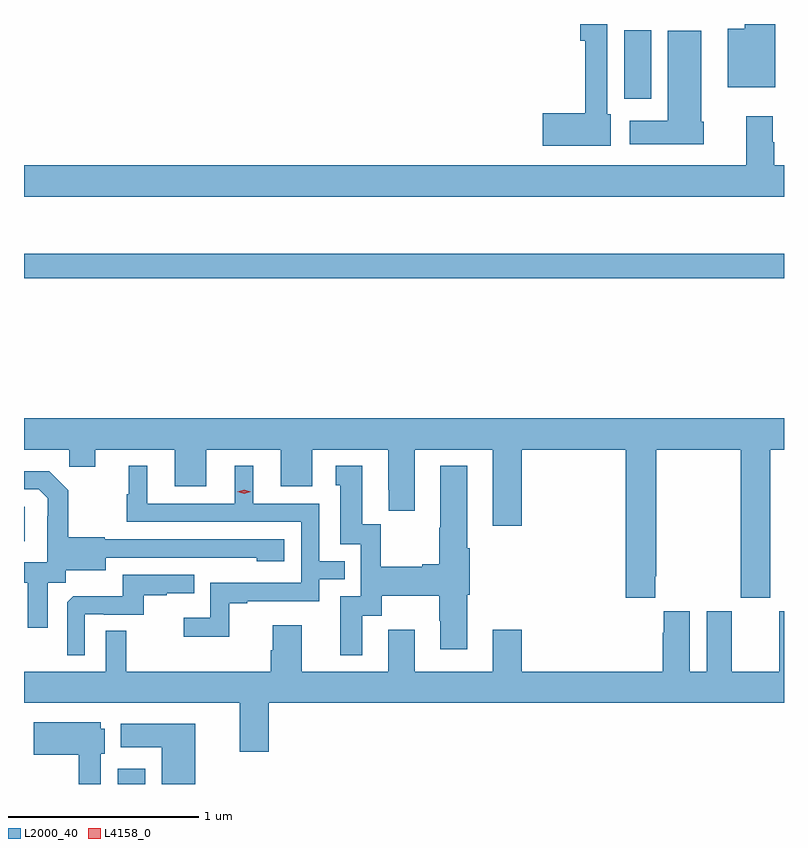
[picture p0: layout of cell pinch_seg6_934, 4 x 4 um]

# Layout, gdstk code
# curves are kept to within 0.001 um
import gdstk
lib = gdstk.Library(unit=1e-6, precision=1e-09)
def R(c, l, rs):  # rectangles x0, y0, x1, y1
    for r in rs: c.add(gdstk.rectangle(r[:2], r[2:], *l))
def P(c, l, *ps):  # polygons
    for p in ps: c.add(gdstk.Polygon(p, *l))
L2000_40 = (2000, 40)
L4158_0 = (4158, 0)

pinch_seg6_934 = lib.new_cell('pinch_seg6_934')
R(pinch_seg6_934, L2000_40, [(266.807,933.588,266.95,933.667), (266.313,934.866,266.317,935.046), (266.313,936.25,270.313,936.379), (269.471,937.194,269.614,937.556)])
P(pinch_seg6_934, L2000_40, [(270.268,937.588),(270.107,937.588),(270.107,937.564),(270.017,937.564),(270.017,937.256),(270.268,937.256)],
  [(269.401,937.113),(269.382,937.113),(269.382,937.588),(269.24,937.588),(269.24,937.499),(269.266,937.499),(269.266,937.118),(269.043,937.118),(269.043,936.947),(269.401,936.947)],
  [(269.89,937.074),(269.878,937.074),(269.878,937.552),(269.702,937.552),(269.702,937.078),(269.502,937.078),(269.502,936.956),(269.89,936.956)],
  [(270.313,936.844),(270.261,936.844),(270.261,936.965),(270.253,936.965),(270.253,937.102),(270.113,937.102),(270.113,936.844),(266.313,936.844),(266.313,936.68),(270.313,936.68)],
  [(269.635,934.681),(269.64,934.681),(269.64,935.348),(270.085,935.348),(270.085,934.569),(270.24,934.569),(270.24,935.348),(270.313,935.348),(270.313,935.512),(266.313,935.512),(266.313,935.348),(266.551,935.348),(266.551,935.258),(266.689,935.258),(266.689,935.348),(267.107,935.348),(267.107,935.154),(267.271,935.154),(267.271,935.348),(267.665,935.348),(267.665,935.154),(267.829,935.154),(267.829,935.348),(268.229,935.348),(268.229,935.137),(268.232,935.137),(268.232,935.025),(268.369,935.025),(268.369,935.348),(268.781,935.348),(268.781,934.947),(268.934,934.947),(268.934,935.348),(269.48,935.348),(269.48,934.569),(269.635,934.569)],
  [(267.393,934.539),(267.487,934.539),(267.487,934.551),(267.867,934.551),(267.867,934.665),(268.001,934.665),(268.001,934.761),(267.867,934.761),(267.867,935.064),(267.52,935.064),(267.52,935.263),(267.422,935.263),(267.422,935.064),(266.962,935.064),(266.962,935.263),(266.864,935.263),(266.864,935.112),(266.853,935.112),(266.853,934.968),(267.771,934.968),(267.771,934.647),(267.294,934.647),(267.294,934.462),(267.153,934.462),(267.153,934.364),(267.393,934.364)],
  [(268.093,934.474),(268.195,934.474),(268.195,934.58),(268.498,934.58),(268.498,934.446),(268.505,934.446),(268.505,934.296),(268.645,934.296),(268.645,934.584),(268.658,934.584),(268.658,934.828),(268.645,934.828),(268.645,935.263),(268.505,935.263),(268.505,934.937),(268.498,934.937),(268.498,934.745),(268.409,934.745),(268.409,934.732),(268.191,934.732),(268.191,934.955),(268.093,934.955),(268.093,935.263),(267.953,935.263),(267.953,935.16),(267.977,935.16),(267.977,934.851),(268.086,934.851),(268.086,934.575),(267.977,934.575),(267.977,934.266),(268.093,934.266)],
  [(266.437,934.648),(266.532,934.648),(266.532,934.712),(266.743,934.712),(266.743,934.779),(267.537,934.778),(267.537,934.76),(267.682,934.76),(267.682,934.875),(266.739,934.875),(266.739,934.888),(266.547,934.888),(266.547,935.133),(266.447,935.233),(266.313,935.233),(266.313,935.139),(266.391,935.139),(266.438,935.092),(266.438,934.997),(266.436,934.997),(266.436,934.756),(266.313,934.756),(266.313,934.646),(266.333,934.646),(266.333,934.41),(266.437,934.41)],
  [(266.634,934.482),(266.734,934.482),(266.734,934.479),(266.942,934.479),(266.942,934.581),(267.065,934.581),(267.065,934.592),(267.209,934.592),(267.209,934.689),(266.832,934.689),(266.832,934.577),(266.573,934.577),(266.541,934.545),(266.541,934.265),(266.634,934.265)],
  [(267.602,934.016),(270.313,934.016),(270.313,934.498),(270.287,934.498),(270.287,934.18),(270.037,934.18),(270.037,934.498),(269.906,934.498),(269.906,934.18),(269.818,934.18),(269.818,934.498),(269.681,934.498),(269.681,934.385),(269.675,934.385),(269.675,934.18),(268.934,934.18),(268.934,934.399),(268.781,934.399),(268.781,934.18),(268.369,934.18),(268.369,934.399),(268.229,934.399),(268.229,934.18),(267.775,934.18),(267.775,934.423),(267.623,934.423),(267.623,934.293),(267.611,934.293),(267.611,934.18),(266.851,934.18),(266.851,934.394),(266.742,934.394),(266.742,934.18),(266.313,934.18),(266.313,934.016),(267.449,934.016),(267.449,933.759),(267.602,933.759)],
  [(266.718,933.747),(266.737,933.747),(266.737,933.879),(266.716,933.879),(266.716,933.913),(266.364,933.913),(266.364,933.743),(266.602,933.743),(266.602,933.588),(266.718,933.588)],
  [(267.214,933.904),(266.822,933.904),(266.822,933.782),(267.038,933.782),(267.038,933.588),(267.214,933.588)])
P(pinch_seg6_934, L4158_0, [(267.471,935.116),(267.435,935.125),(267.435,935.125),(267.435,935.125),(267.471,935.136),(267.506,935.127),(267.507,935.126),(267.506,935.126)])

lib.write_gds('pinch_seg6_934.gds')
